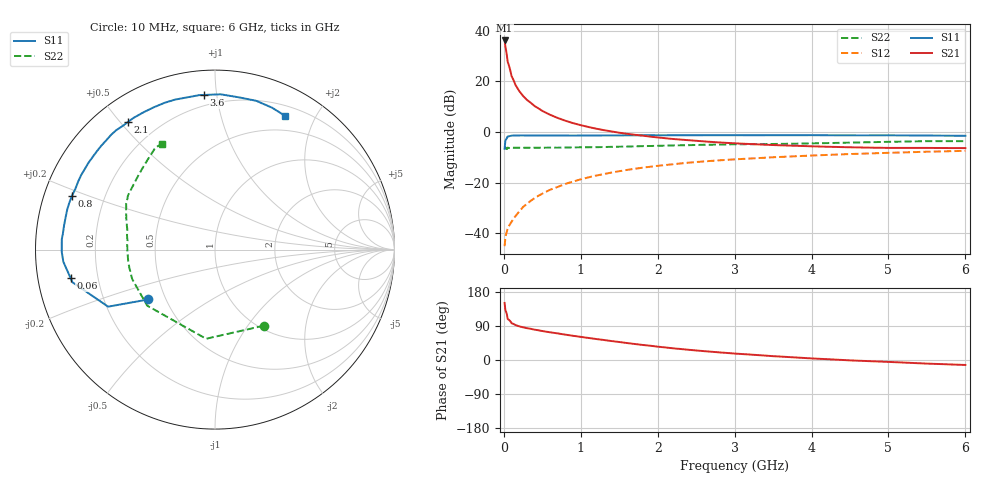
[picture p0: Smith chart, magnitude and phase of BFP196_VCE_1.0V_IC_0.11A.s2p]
! Infineon Technologies  Discrete & RF Semiconductors
! BFP196
! VCE =  1.0 V,  IC = 0.11 A
! Common Emitter S-Parameters:  Jan 2017
# GHz  S  MA  R  50
!  f  S11  S21  S12  S22
! GHz  MAG  ANG  MAG  ANG  MAG  ANG  MAG  ANG
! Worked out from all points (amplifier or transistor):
!   77 points, 10 MHz to 6 GHz, reference 50 ohm
!   highest |S21| = 36.2 dB at 10 MHz (marker M1)
!   |S21| within 3 dB of that: start of sweep to 23.91 MHz
!   unconditionally stable (mu >= 1): 172.1 MHz to end of sweep
!   at 130 MHz: K = 0.92, MSG = 27.2 dB, |S12| = -34.2 dB
!   at 2.2 GHz: K = 1.06, MAG = 3.5 dB, |S12| = -12.8 dB
!   at 6 GHz: K = 1.04, MAG = -0.7 dB, |S12| = -7.5 dB
!   S11 on the Smith chart (normalised r, x): 10 MHz: 0.40, -0.28; 60 MHz: 0.10, -0.10; 800 MHz: 0.08, +0.18; 2.1 GHz: 0.10, +0.52; 3.6 GHz: 0.14, +0.92; 6 GHz: 0.31, +1.60
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0.01  0.4636 -143.2  64.8 150.5  0.0055 60.5  0.5036 -57.3
0.02  0.675 -151.9  49.56 131.4  0.008 50.5  0.4992 -95.7
0.05  0.8149 -167.1  24.49 108.2  0.0124 46.3  0.4902 -140.4
0.06  0.82 -168.8  22.11 106.9  0.0132 48.7  0.4853 -144.4
0.1  0.8477 -175.4  12.8 97.0  0.0167 55.7  0.4896 -160.4
0.15  0.854 -179.2  8.602 92.4  0.0215 60.7  0.4876 -167.7
0.2  0.8543 178.3  6.461 88.8  0.0267 65.2  0.4883 -171.8
0.25  0.8554 176.0  5.17 86.2  0.0328 66.5  0.4873 -174.4
0.3  0.8522 174.2  4.313 84.0  0.0378 68.2  0.4873 -176.6
0.4  0.8516 170.9  3.258 80.0  0.0492 70.2  0.488 -179.5
0.5  0.8515 167.7  2.615 76.5  0.0602 70.0  0.4887 178.3
0.6  0.8531 164.7  2.197 73.1  0.0717 69.2  0.4909 176.3
0.8  0.8515 159.3  1.671 66.9  0.0939 67.8  0.4923 172.9
0.9  0.8483 156.5  1.496 63.9  0.1047 66.3  0.495 171.6
1.1  0.8535 150.9  1.255 58.2  0.1265 63.7  0.4995 168.7
1.5  0.8564 140.2  0.967 47.5  0.1676 57.5  0.5123 163.6
2.1  0.8605 124.4  0.753 33.1  0.2222 47.6  0.5373 157.2
3.1  0.8631 103.1  0.587 15.7  0.2928 32.3  0.5722 146.9
3.6  0.8638 94.2  0.545 9.0  0.3211 25.7  0.582 140.7
4.1  0.8633 86.5  0.516 3.2  0.3468 19.3  0.5988 134.3
5.1  0.8577 73.2  0.484 -5.9  0.3908 7.5  0.6425 123.2
6  0.8411 62.5  0.48 -13.1  0.4238 -2.5  0.6585 116.8
